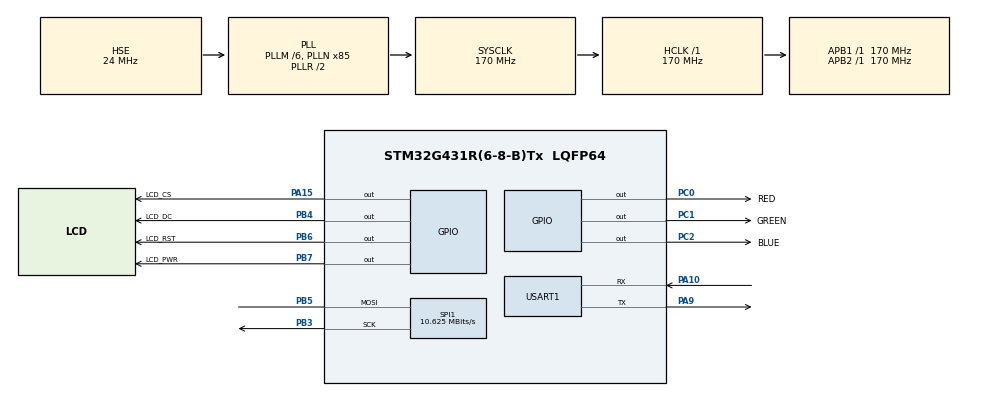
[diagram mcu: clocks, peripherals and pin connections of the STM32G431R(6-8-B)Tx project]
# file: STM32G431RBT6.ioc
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Mcu.Family=STM32G4
Mcu.Name=STM32G431R(6-8-B)Tx
Mcu.Package=LQFP64
NVIC.PriorityGroup=NVIC_PRIORITYGROUP_4
NVIC.USART1_IRQn=true\:0\:0\:false\:false\:true\:true\:true\:true
PA10.Mode=Asynchronous
PA10.Signal=USART1_RX
PA13.Mode=Serial_Wire
PA13.Signal=SYS_JTMS-SWDIO
PA14.Mode=Serial_Wire
PA14.Signal=SYS_JTCK-SWCLK
PA9.Mode=Asynchronous
PA9.Signal=USART1_TX
PB3.GPIO_PuPd=GPIO_PULLUP
PB3.GPIO_Speed=GPIO_SPEED_FREQ_VERY_HIGH
PB3.Mode=Simplex_Bidirectional_Master
PB3.Signal=SPI1_SCK
PB4.GPIO_Label=LCD_DC
PB4.GPIO_PuPd=GPIO_PULLUP
PB4.GPIO_Speed=GPIO_SPEED_FREQ_VERY_HIGH
PB4.PinState=GPIO_PIN_RESET
PB4.Signal=GPIO_Output
PB5.GPIO_PuPd=GPIO_PULLUP
PB5.GPIO_Speed=GPIO_SPEED_FREQ_VERY_HIGH
PB5.Mode=Simplex_Bidirectional_Master
PB5.Signal=SPI1_MOSI
PA15.GPIO_Label=LCD_CS
PA15.GPIO_PuPd=GPIO_PULLUP
PA15.GPIO_Speed=GPIO_SPEED_FREQ_VERY_HIGH
PA15.PinState=GPIO_PIN_SET
PA15.Signal=GPIO_Output
PB7.GPIO_Label=LCD_PWR
PB7.GPIO_PuPd=GPIO_PULLUP
PB7.GPIO_Speed=GPIO_SPEED_FREQ_VERY_HIGH
PB7.PinState=GPIO_PIN_RESET
PB7.Signal=GPIO_Output
PB6.GPIO_Label=LCD_RST
PB6.GPIO_PuPd=GPIO_PULLUP
PB6.GPIO_Speed=GPIO_SPEED_FREQ_VERY_HIGH
PB6.PinState=GPIO_PIN_RESET
PB6.Signal=GPIO_Output
PC0.GPIO_Label=RED
PC0.GPIO_PuPd=GPIO_PULLUP
PC0.GPIO_Speed=GPIO_SPEED_FREQ_VERY_HIGH
PC0.PinState=GPIO_PIN_SET
PC0.Signal=GPIO_Output
PC1.GPIO_Label=GREEN
PC1.GPIO_PuPd=GPIO_PULLUP
PC1.GPIO_Speed=GPIO_SPEED_FREQ_VERY_HIGH
PC1.PinState=GPIO_PIN_SET
PC1.Signal=GPIO_Output
PC2.GPIO_Label=BLUE
PC2.GPIO_PuPd=GPIO_PULLUP
PC2.GPIO_Speed=GPIO_SPEED_FREQ_VERY_HIGH
PC2.PinState=GPIO_PIN_SET
PC2.Signal=GPIO_Output
PF0-OSC_IN.Mode=HSE-External-Oscillator
PF0-OSC_IN.Signal=RCC_OSC_IN
PF1-OSC_OUT.Mode=HSE-External-Oscillator
PF1-OSC_OUT.Signal=RCC_OSC_OUT
ProjectManager.HeapSize=0x200
ProjectManager.StackSize=0x400
ProjectManager.TargetToolchain=MDK-ARM V5.32
RCC.ADC12Freq_Value=170000000
RCC.ADC345Freq_Value=170000000
RCC.AHBFreq_Value=170000000
RCC.APB1Freq_Value=170000000
RCC.APB1TimFreq_Value=170000000
RCC.APB2Freq_Value=170000000
RCC.APB2TimFreq_Value=170000000
RCC.CortexFreq_Value=170000000
RCC.EXTERNAL_CLOCK_VALUE=12288000
RCC.HCLKFreq_Value=170000000
RCC.HSE_VALUE=24000000
RCC.HSI48_VALUE=48000000
RCC.HSI_VALUE=16000000
RCC.LSE_VALUE=32768
RCC.PLLM=RCC_PLLM_DIV6
RCC.PLLN=85
RCC.PLLSourceVirtual=RCC_PLLSOURCE_HSE
RCC.SYSCLKFreq_VALUE=170000000
RCC.SYSCLKSource=RCC_SYSCLKSOURCE_PLLCLK
RCC.USBFreq_Value=170000000
RCC.VCOOutputFreq_Value=340000000
SPI1.BaudRatePrescaler=SPI_BAUDRATEPRESCALER_16
SPI1.CLKPhase=SPI_PHASE_2EDGE
SPI1.CLKPolarity=SPI_POLARITY_HIGH
SPI1.CRCCalculation=SPI_CRCCALCULATION_DISABLE
SPI1.CalculateBaudRate=10.625 MBits/s
SPI1.DataSize=SPI_DATASIZE_8BIT
SPI1.Direction=SPI_DIRECTION_1LINE
SPI1.FirstBit=SPI_FIRSTBIT_MSB
SPI1.Mode=SPI_MODE_MASTER
SPI1.NSS=SPI_NSS_SOFT
SPI1.TIMode=SPI_TIMODE_DISABLE
SPI1.VirtualType=VM_MASTER
USART1.VirtualMode-Asynchronous=VM_ASYNC
VP_SYS_VS_DBSignals.Mode=DisableDeadBatterySignals
board=custom

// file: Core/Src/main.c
/* USER CODE BEGIN Header */
/**
  ******************************************************************************
  * @file           : main.c
  * @brief          : Main program body
  ******************************************************************************
  * @attention
  *
  * Copyright (c) 2026 STMicroelectronics.
  * All rights reserved.
  *
  * This software is licensed under terms that can be found in the LICENSE file
  * in the root directory of this software component.
  * If no LICENSE file comes with this software, it is provided AS-IS.
  *
  ******************************************************************************
  */
/* USER CODE END Header */
#include "main.h"
#include "spi.h"
#include "usart.h"
#include "gpio.h"

/* USER CODE BEGIN Includes */
#include <string.h>
#include <stdlib.h>
#include "stdio.h"
#include "lcd.h"

/* USER CODE END Includes */

/* USER CODE BEGIN PV */
static uint16_t line_buffer[320];

static lcd_io lcd_io_desc = {
  .spi = &hspi1,
  .rst = {LCD_RST_GPIO_Port, LCD_RST_Pin, 0},
  .bl  = {LCD_PWR_GPIO_Port, LCD_PWR_Pin, 0},
  .cs  = {LCD_CS_GPIO_Port, LCD_CS_Pin, 0},
  .dc  = {LCD_DC_GPIO_Port, LCD_DC_Pin, 0},
  .te  = {0}
};

static lcd lcd_desc = {
  .io = &lcd_io_desc,
  .line_buffer = line_buffer,
};

/* USER CODE END PV */

void SystemClock_Config(void);

/* USER CODE BEGIN 0 */
int fputc(int ch, FILE *f)
{
	HAL_UART_Transmit(&huart1, (uint8_t *)&ch, 1, 0xFFFF);
	return ch;
}

uint8_t rx1_buf;

/**
	* @brief          串口接收中断回调函数
  * @param[in]     	huart 串口句柄
  * @retval         none
  */
void HAL_UART_RxCpltCallback(UART_HandleTypeDef *huart)
{

	if(huart->Instance==USART1)
	{
		HAL_UART_Receive_IT(&huart1, &rx1_buf, 1);

		HAL_UART_Transmit(&huart1, &rx1_buf, 1, 1000);

	}

}
/* USER CODE END 0 */

int main(void)
{

  /* MCU Configuration--------------------------------------------------------*/

  /* Reset of all peripherals, Initializes the Flash interface and the Systick. */
  HAL_Init();

  /* Configure the system clock */
  SystemClock_Config();

  /* Initialize all configured peripherals */
  MX_GPIO_Init();
  MX_SPI1_Init();
  MX_USART1_UART_Init();
  /* USER CODE BEGIN 2 */
	printf("hello world! \r\n");
	HAL_UART_Receive_IT(&huart1, &rx1_buf, 1);
  lcd_init_dev(&lcd_desc, LCD_1_47_INCH, LCD_ROTATE_90);
  lcd_print(&lcd_desc, 0, 20, "> STM32G431RBT6");
  lcd_print(&lcd_desc, 0, 40, "> ST7789 1.47 inch");
  lcd_print(&lcd_desc, 0, 60, "> SPI LCD Demo");
  /* USER CODE END 2 */

  /* Infinite loop */
  /* USER CODE BEGIN WHILE */
  while (1)
  {
		HAL_GPIO_TogglePin(RED_GPIO_Port,RED_Pin);
		HAL_GPIO_TogglePin(GREEN_GPIO_Port,GREEN_Pin);
		HAL_GPIO_TogglePin(BLUE_GPIO_Port,BLUE_Pin);
    lcd_print(&lcd_desc, 0, 100, "> tick:%lu", HAL_GetTick() / 1000UL);
		HAL_Delay(500);
    /* USER CODE END WHILE */

  }
}

void SystemClock_Config(void)
{
  RCC_OscInitTypeDef RCC_OscInitStruct = {0};
  RCC_ClkInitTypeDef RCC_ClkInitStruct = {0};

  /** Configure the main internal regulator output voltage
  */
  HAL_PWREx_ControlVoltageScaling(PWR_REGULATOR_VOLTAGE_SCALE1_BOOST);

  /** Initializes the RCC Oscillators according to the specified parameters
  * in the RCC_OscInitTypeDef structure.
  */
  RCC_OscInitStruct.OscillatorType = RCC_OSCILLATORTYPE_HSE;
  RCC_OscInitStruct.HSEState = RCC_HSE_ON;
  RCC_OscInitStruct.PLL.PLLState = RCC_PLL_ON;
  RCC_OscInitStruct.PLL.PLLSource = RCC_PLLSOURCE_HSE;
  RCC_OscInitStruct.PLL.PLLM = RCC_PLLM_DIV6;
  RCC_OscInitStruct.PLL.PLLN = 85;
  RCC_OscInitStruct.PLL.PLLP = RCC_PLLP_DIV2;
  RCC_OscInitStruct.PLL.PLLQ = RCC_PLLQ_DIV2;
  RCC_OscInitStruct.PLL.PLLR = RCC_PLLR_DIV2;
  if (HAL_RCC_OscConfig(&RCC_OscInitStruct) != HAL_OK)
  {
    Error_Handler();
  }

  /** Initializes the CPU, AHB and APB buses clocks
  */
  RCC_ClkInitStruct.ClockType = RCC_CLOCKTYPE_HCLK|RCC_CLOCKTYPE_SYSCLK
                              |RCC_CLOCKTYPE_PCLK1|RCC_CLOCKTYPE_PCLK2;
  RCC_ClkInitStruct.SYSCLKSource = RCC_SYSCLKSOURCE_PLLCLK;
  RCC_ClkInitStruct.AHBCLKDivider = RCC_SYSCLK_DIV1;
  RCC_ClkInitStruct.APB1CLKDivider = RCC_HCLK_DIV1;
  RCC_ClkInitStruct.APB2CLKDivider = RCC_HCLK_DIV1;

  if (HAL_RCC_ClockConfig(&RCC_ClkInitStruct, FLASH_LATENCY_4) != HAL_OK)
  {
    Error_Handler();
  }
}

void Error_Handler(void)
{
  __disable_irq();
  while (1)
  {
  }
}
